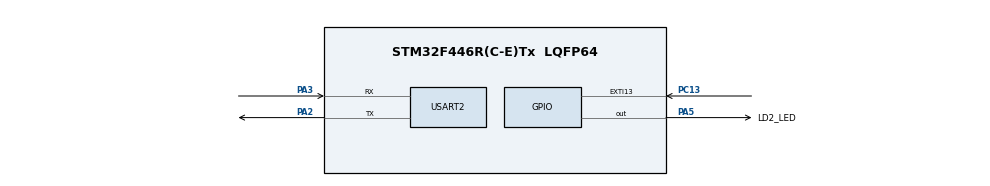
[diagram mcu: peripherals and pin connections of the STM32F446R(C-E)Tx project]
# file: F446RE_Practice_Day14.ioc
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Mcu.Family=STM32F4
Mcu.Name=STM32F446R(C-E)Tx
Mcu.Package=LQFP64
NVIC.EXTI15_10_IRQn=true\:0\:0\:false\:false\:true\:true\:true\:true
NVIC.PriorityGroup=NVIC_PRIORITYGROUP_4
PA13.Mode=Serial_Wire
PA13.Signal=SYS_JTMS-SWDIO
PA14.Mode=Serial_Wire
PA14.Signal=SYS_JTCK-SWCLK
PA2.Mode=Asynchronous
PA2.Signal=USART2_TX
PA3.Mode=Asynchronous
PA3.Signal=USART2_RX
PA5.GPIO_Label=LD2_LED
PA5.Signal=GPIO_Output
PC13.GPIO_ModeDefaultEXTI=GPIO_MODE_IT_FALLING
PC13.Signal=GPXTI13
ProjectManager.HeapSize=0x200
ProjectManager.StackSize=0x400
ProjectManager.TargetToolchain=STM32CubeIDE
RCC.CortexFreq_Value=16000000
RCC.USBFreq_Value=96000000
RCC.VCOOutputFreq_Value=192000000
USART2.VirtualMode=VM_ASYNC
board=custom

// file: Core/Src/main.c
/* USER CODE BEGIN Header */
/**
  ******************************************************************************
  * @file           : main.c
  * @brief          : Main program body
  ******************************************************************************
  * @attention
  *
  * Copyright (c) 2026 STMicroelectronics.
  * All rights reserved.
  *
  * This software is licensed under terms that can be found in the LICENSE file
  * in the root directory of this software component.
  * If no LICENSE file comes with this software, it is provided AS-IS.
  *
  ******************************************************************************
  */
/* USER CODE END Header */
#include "main.h"

/* USER CODE BEGIN Includes */

#include <stdbool.h>
#include <stdint.h>

/* USER CODE END Includes */

UART_HandleTypeDef huart2;

/* USER CODE BEGIN PV */

#define NOINIT_MAGIC 0x56495649UL  /* ASCII 概念：VIVI */

typedef struct
{
    uint32_t magic;
    uint32_t warm_boot_count;
    uint32_t previous_reset_csr;
    uint32_t checksum;
} NoInitState;

/*
 * 此變數位於自訂的 .noinit 區段。
 * used 避免編譯器／Linker 認為它不需要而移除。
 */
__attribute__((section(".noinit"), used))
static volatile NoInitState g_noinit_state;

/* 一般 .bss 變數，每次 Reset 都會清零 */
static uint32_t normal_bss_counter;

volatile bool software_reset_detected = false;
volatile bool reset_requested = false;

/* USER CODE END PV */

void SystemClock_Config(void);
static void MX_GPIO_Init(void);
static void MX_USART2_UART_Init(void);

/* USER CODE BEGIN 0 */

static uint32_t NoInit_CalculateChecksum(
    uint32_t magic,
    uint32_t boot_count,
    uint32_t reset_csr)
{
    return magic ^
           boot_count ^
           reset_csr ^
           0xA5A55A5AUL;
}

static bool NoInit_IsValid(void)
{
    uint32_t expected =
        NoInit_CalculateChecksum(
            g_noinit_state.magic,
            g_noinit_state.warm_boot_count,
            g_noinit_state.previous_reset_csr);

    return (g_noinit_state.magic == NOINIT_MAGIC) &&
           (g_noinit_state.checksum == expected);
}

/* USER CODE END 0 */

int main(void)
{

  /* MCU Configuration--------------------------------------------------------*/

  /* Reset of all peripherals, Initializes the Flash interface and the Systick. */
  HAL_Init();

  /* Configure the system clock */
  SystemClock_Config();

  /* USER CODE BEGIN SysInit */

  uint32_t current_reset_csr = RCC->CSR;

  if (__HAL_RCC_GET_FLAG(RCC_FLAG_SFTRST) != RESET)
  {
      software_reset_detected = true;
  }

  /*
   * 第一次上電，或資料被破壞時重新初始化。
   */
  if (!NoInit_IsValid())
  {
      g_noinit_state.magic = NOINIT_MAGIC;
      g_noinit_state.warm_boot_count = 0U;
      g_noinit_state.previous_reset_csr = 0U;
  }

  /*
   * .bss 每次 Reset 後都從 0 開始。
   */
  normal_bss_counter++;

  /*
   * .noinit 在暖重啟後通常仍保留原值。
   */
  g_noinit_state.warm_boot_count++;
  g_noinit_state.previous_reset_csr =
      current_reset_csr;

  g_noinit_state.checksum =
      NoInit_CalculateChecksum(
          g_noinit_state.magic,
          g_noinit_state.warm_boot_count,
          g_noinit_state.previous_reset_csr);

  __HAL_RCC_CLEAR_RESET_FLAGS();

  /* USER CODE END SysInit */

  /* Initialize all configured peripherals */
  MX_GPIO_Init();
  MX_USART2_UART_Init();

  /* Infinite loop */
  while (1)
  {

    /* USER CODE BEGIN 3 */

  if (reset_requested)
	  {
		  reset_requested = false;

		  /*
		   * 短暫點亮 LED，表示即將 Reset。
		   */
		  HAL_GPIO_WritePin(
			  GPIOA,
			  GPIO_PIN_5,
			  GPIO_PIN_SET);

		  HAL_Delay(100U);

		  /*
		   * 確保前面的記憶體寫入已完成。
		   */
		  __DSB();
		  __ISB();

		  NVIC_SystemReset();
	  }

  }
  /* USER CODE END 3 */
}

void SystemClock_Config(void)
{
  RCC_OscInitTypeDef RCC_OscInitStruct = {0};
  RCC_ClkInitTypeDef RCC_ClkInitStruct = {0};

  /** Configure the main internal regulator output voltage
  */
  __HAL_RCC_PWR_CLK_ENABLE();
  __HAL_PWR_VOLTAGESCALING_CONFIG(PWR_REGULATOR_VOLTAGE_SCALE3);

  /** Initializes the RCC Oscillators according to the specified parameters
  * in the RCC_OscInitTypeDef structure.
  */
  RCC_OscInitStruct.OscillatorType = RCC_OSCILLATORTYPE_HSI;
  RCC_OscInitStruct.HSIState = RCC_HSI_ON;
  RCC_OscInitStruct.HSICalibrationValue = RCC_HSICALIBRATION_DEFAULT;
  RCC_OscInitStruct.PLL.PLLState = RCC_PLL_NONE;
  if (HAL_RCC_OscConfig(&RCC_OscInitStruct) != HAL_OK)
  {
    Error_Handler();
  }

  /** Initializes the CPU, AHB and APB buses clocks
  */
  RCC_ClkInitStruct.ClockType = RCC_CLOCKTYPE_HCLK|RCC_CLOCKTYPE_SYSCLK
                              |RCC_CLOCKTYPE_PCLK1|RCC_CLOCKTYPE_PCLK2;
  RCC_ClkInitStruct.SYSCLKSource = RCC_SYSCLKSOURCE_HSI;
  RCC_ClkInitStruct.AHBCLKDivider = RCC_SYSCLK_DIV1;
  RCC_ClkInitStruct.APB1CLKDivider = RCC_HCLK_DIV1;
  RCC_ClkInitStruct.APB2CLKDivider = RCC_HCLK_DIV1;

  if (HAL_RCC_ClockConfig(&RCC_ClkInitStruct, FLASH_LATENCY_0) != HAL_OK)
  {
    Error_Handler();
  }
}

static void MX_USART2_UART_Init(void)
{

  huart2.Instance = USART2;
  huart2.Init.BaudRate = 115200;
  huart2.Init.WordLength = UART_WORDLENGTH_8B;
  huart2.Init.StopBits = UART_STOPBITS_1;
  huart2.Init.Parity = UART_PARITY_NONE;
  huart2.Init.Mode = UART_MODE_TX_RX;
  huart2.Init.HwFlowCtl = UART_HWCONTROL_NONE;
  huart2.Init.OverSampling = UART_OVERSAMPLING_16;
  if (HAL_UART_Init(&huart2) != HAL_OK)
  {
    Error_Handler();
  }

}

static void MX_GPIO_Init(void)
{
  GPIO_InitTypeDef GPIO_InitStruct = {0};

  /* GPIO Ports Clock Enable */
  __HAL_RCC_GPIOC_CLK_ENABLE();
  __HAL_RCC_GPIOA_CLK_ENABLE();

  /*Configure GPIO pin Output Level */
  HAL_GPIO_WritePin(LD2_LED_GPIO_Port, LD2_LED_Pin, GPIO_PIN_RESET);

  /*Configure GPIO pin : PC13 */
  GPIO_InitStruct.Pin = GPIO_PIN_13;
  GPIO_InitStruct.Mode = GPIO_MODE_IT_FALLING;
  GPIO_InitStruct.Pull = GPIO_NOPULL;
  HAL_GPIO_Init(GPIOC, &GPIO_InitStruct);

  /*Configure GPIO pin : LD2_LED_Pin */
  GPIO_InitStruct.Pin = LD2_LED_Pin;
  GPIO_InitStruct.Mode = GPIO_MODE_OUTPUT_PP;
  GPIO_InitStruct.Pull = GPIO_NOPULL;
  GPIO_InitStruct.Speed = GPIO_SPEED_FREQ_LOW;
  HAL_GPIO_Init(LD2_LED_GPIO_Port, &GPIO_InitStruct);

  /* EXTI interrupt init*/
  HAL_NVIC_SetPriority(EXTI15_10_IRQn, 0, 0);
  HAL_NVIC_EnableIRQ(EXTI15_10_IRQn);

}

/* USER CODE BEGIN 4 */

void HAL_GPIO_EXTI_Callback(uint16_t GPIO_Pin)
{
    if (GPIO_Pin == GPIO_PIN_13)
    {
        reset_requested = true;
    }
}

/* USER CODE END 4 */

void Error_Handler(void)
{
  __disable_irq();
  while (1)
  {
  }
}
